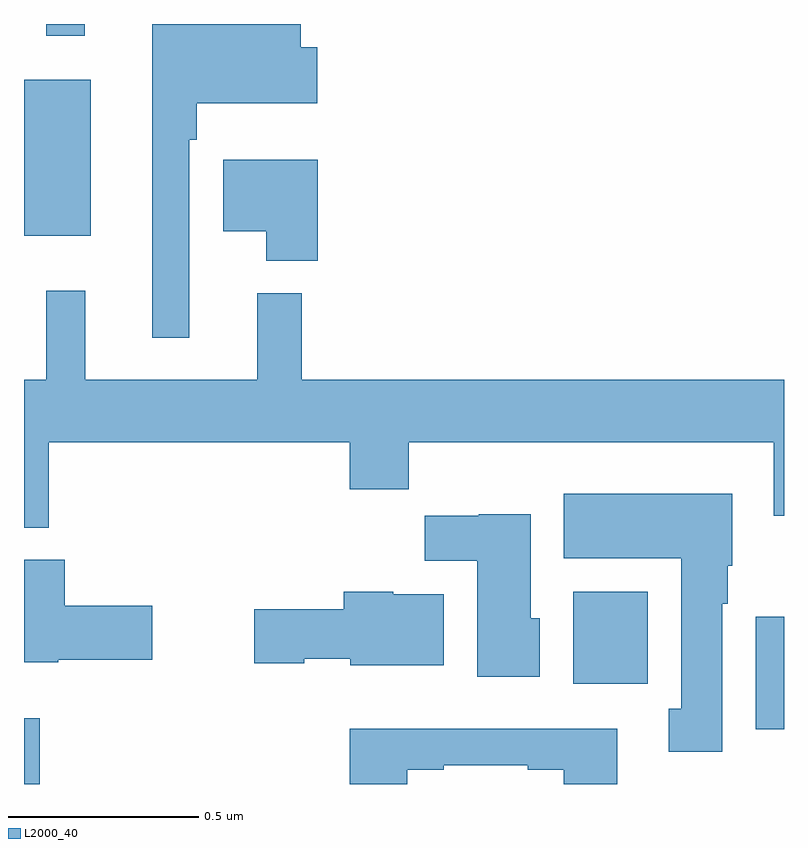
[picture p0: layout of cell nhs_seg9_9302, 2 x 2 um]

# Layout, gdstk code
import gdstk
lib = gdstk.Library(unit=1e-6, precision=1e-09)
def R(c, l, rs):  # rectangles x0, y0, x1, y1
    for r in rs: c.add(gdstk.rectangle(r[:2], r[2:], *l))
def P(c, l, *ps):  # polygons
    for p in ps: c.add(gdstk.Polygon(p, *l))
L2000_40 = (2000, 40)

nhs_seg9_9302 = lib.new_cell('nhs_seg9_9302')
R(nhs_seg9_9302, L2000_40, [(228,1215.5,228.042,1215.673), (229.925,1215.644,230,1215.94), (229.445,1215.764,229.642,1216.006), (228,1216.943,228.175,1217.353), (228.058,1217.469,228.16,1217.5)])
P(nhs_seg9_9302, L2000_40, [(228.435,1217.195),(228.455,1217.195),(228.455,1217.291),(228.772,1217.291),(228.772,1217.439),(228.728,1217.439),(228.728,1217.5),(228.338,1217.5),(228.338,1216.674),(228.435,1216.674)],
  [(228.773,1217.143),(228.524,1217.143),(228.524,1216.955),(228.638,1216.955),(228.638,1216.877),(228.773,1216.877)],
  [(228.065,1216.4),(228.857,1216.4),(228.857,1216.276),(229.013,1216.276),(229.013,1216.4),(229.973,1216.4),(229.973,1216.206),(230,1216.206),(230,1216.564),(228.731,1216.564),(228.731,1216.792),(228.614,1216.792),(228.614,1216.564),(228.161,1216.564),(228.161,1216.798),(228.058,1216.798),(228.058,1216.564),(228,1216.564),(228,1216.175),(228.065,1216.175)],
  [(229.837,1215.974),(229.852,1215.974),(229.852,1216.074),(229.864,1216.074),(229.864,1216.264),(229.421,1216.264),(229.421,1216.094),(229.73,1216.094),(229.73,1215.698),(229.697,1215.698),(229.697,1215.585),(229.837,1215.585)],
  [(229.357,1215.936),(229.333,1215.936),(229.333,1216.21),(229.197,1216.21),(229.197,1216.206),(229.054,1216.206),(229.054,1216.088),(229.193,1216.088),(229.193,1215.782),(229.357,1215.782)],
  [(228.09,1215.827),(228.337,1215.827),(228.337,1215.969),(228.107,1215.969),(228.107,1216.09),(228,1216.09),(228,1215.821),(228.09,1215.821)],
  [(229.105,1216),(228.972,1216),(228.972,1216.006),(228.842,1216.006),(228.842,1215.96),(228.606,1215.96),(228.606,1215.818),(228.738,1215.818),(228.738,1215.83),(228.858,1215.83),(228.858,1215.812),(229.105,1215.812)],
  [(229.009,1215.537),(229.105,1215.537),(229.105,1215.549),(229.325,1215.549),(229.325,1215.537),(229.421,1215.537),(229.421,1215.5),(229.561,1215.5),(229.561,1215.646),(228.857,1215.646),(228.857,1215.5),(229.009,1215.5)])

lib.write_gds('nhs_seg9_9302.gds')
